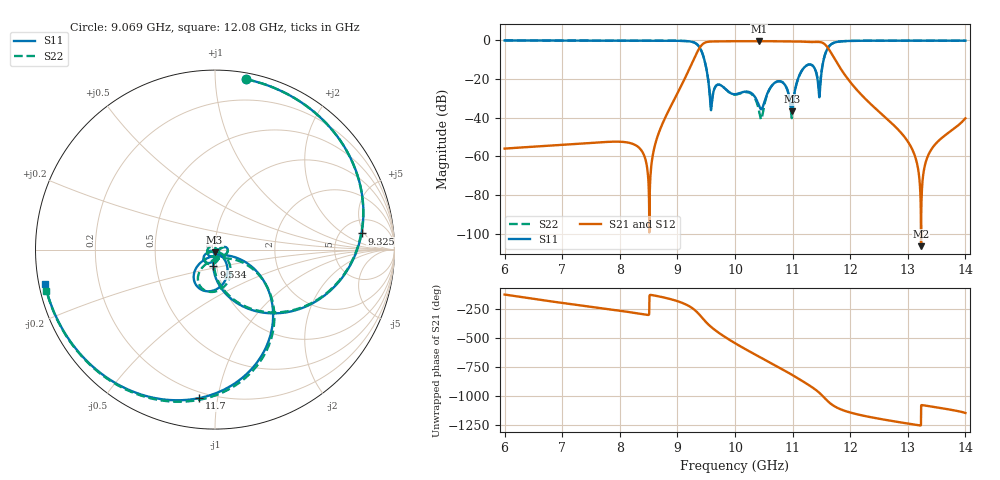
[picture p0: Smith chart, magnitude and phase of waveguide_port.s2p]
! TOUCHSTONE file generated by CST MICROWAVE STUDIO
! Date and time: Tue Nov  7 19:43:50 2023
! Project name: filter_ekran.cst
! Parameters = {t=0.018; shir=10; st=0.5; vis_ekr=3.5}
! Header version: 2018
! Port assignment regex: !\s*Touchstone port\s*([0-9]+)\s*=\s*(CST MWS port|CST DS port)\s*([0-9]+|Zmin|Zmax)\s*\(\"(.*)\"\)(\s*mode\s*([0-9]+))?.*
! Touchstone port assignment:
! Touchstone port 1 = CST MWS port 1 ("")
! Touchstone port 2 = CST MWS port 2 ("")
# GHz S RI R 50
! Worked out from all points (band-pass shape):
!   5001 points, 6 GHz to 14 GHz, reference 50 ohm
!   highest |S21| = -0.48 dB at 10.42 GHz (marker M1); lowest = -106.3 dB at 13.23 GHz (marker M2)
!   |S21| within 3 dB of the highest: 9.396 GHz to 11.6 GHz (2.206 GHz wide, 21 % of centre)
!   lowest |S11| = -36.7 dB at 10.99 GHz (marker M3), VSWR 1.03, Z = 49.7 - j1.42 ohm
!   |S11| at or under -10 dB: 9.467 GHz to 11.54 GHz (2.072 GHz wide, 19.7 % of centre)
!   |S22| runs from -40.9 to -0.1 dB; largest |S21 - S12| = 2.5e-05
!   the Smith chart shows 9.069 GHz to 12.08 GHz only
!   S11 on the Smith chart (normalised r, x): 9.069 GHz: 0.04, +1.20; 9.325 GHz: 7.79, +4.29; 9.534 GHz: 0.96, -0.18; 11.7 GHz: 0.16, -0.88; 12.08 GHz: 0.02, -0.10
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6  0.812 -0.5641  -0.000899 -0.00132  -0.000899 -0.00132  0.8147 -0.5602
7.3344  -0.6067 -0.7758  -0.00165 0.00136  -0.00165 0.00135  -0.6037 -0.778
8.2624  -0.9604 0.1974  0.000458 0.00194  0.00046 0.00194  -0.9606 0.1962
8.5088  -0.8317 0.5163  2.17e-05 4.92e-05  2.54e-05 4.83e-05  -0.832 0.5159
8.6672  -0.6691 0.7126  -0.00281 -0.00243  -0.0028 -0.00243  -0.6693 0.7125
9.0688  0.175 0.9488  -0.066 0.0158  -0.066 0.0158  0.1738 0.9491
9.3248  0.8162 0.0897  -0.0129 0.4335  -0.0129 0.4335  0.8159 0.0963
9.5344  -0.00909 -0.0941  0.8526 -0.3313  0.8526 -0.3313  -0.00395 -0.0957
9.7312  0.07 -0.0114  -0.1499 -0.9242  -0.1499 -0.9242  0.07 -0.0122
10  0.0035 -0.0403  -0.942 0.0691  -0.942 0.0691  -0.00224 -0.0395
10.4192  -0.0186 -0.00773  0.4913 0.809  0.4913 0.809  -0.00559 0.0133
10.7536  -0.051 -0.0713  0.7999 -0.4942  0.7999 -0.4942  -0.0353 -0.0801
10.9856  -0.00265 -0.0143  -0.1056 -0.933  -0.1056 -0.9329  -0.000997 -0.00972
11.3344  -0.0985 -0.2062  -0.8251 0.357  -0.8251 0.357  -0.0699 -0.2182
11.464  0.00409 -0.0335  -0.2668 0.8621  -0.2668 0.8621  0.0124 -0.0528
11.696  -0.0898 -0.8277  0.403 0.00392  0.403 0.00393  -0.0617 -0.8314
12.0848  -0.9471 -0.1931  0.0161 -0.0568  0.0161 -0.0568  -0.9391 -0.229
12.6672  -0.6925 0.6878  -0.00563 -0.00641  -0.00563 -0.00641  -0.7162 0.6631
13.064  -0.2151 0.9531  -0.0016 -0.000469  -0.00161 -0.000469  -0.2482 0.9451
13.2304  0.0115 0.9772  4.35e-06 -2.09e-06  4.51e-06 -2.14e-06  -0.0229 0.9771
13.4192  0.2682 0.9399  0.00156 -0.000338  0.00157 -0.000342  0.2343 0.949
14  0.8764 0.4306  0.00379 -0.00891  0.00379 -0.00891  0.859 0.4643
